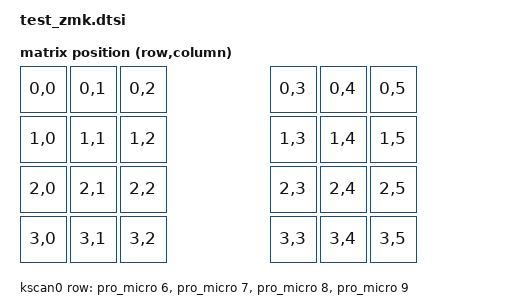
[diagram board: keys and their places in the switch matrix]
#include <dt-bindings/zmk/matrix_transform.h>

/ {
    chosen {
        zephyr,display = &oled;
        zmk,kscan = &kscan0;
        zmk,matrix-transform = &default_transform;
    };

    default_transform: keymap_transform_0 {
        compatible = "zmk,matrix-transform";
        columns = <6>;
        rows = <4>;
// | SW6  | SW5  | SW4  |               | SW1  | SW2  | SW3  |
// | SW12 | SW11 | SW10 |               | SW7  | SW8  | SW9  |
// | SW18 | SW17 | SW16 |               | SW13 | SW14 | SW15 |
// | SW24 | SW23 | SW22 |               | SW19 | SW20 | SW21 |
        map = <
RC(0,0) RC(0,1) RC(0,2)                 RC(0,3) RC(0,4) RC(0,5)
RC(1,0) RC(1,1) RC(1,2)                 RC(1,3) RC(1,4) RC(1,5)
RC(2,0) RC(2,1) RC(2,2)                 RC(2,3) RC(2,4) RC(2,5)
RC(3,0) RC(3,1) RC(3,2)                 RC(3,3) RC(3,4) RC(3,5)
        >;
    };

    kscan0: kscan {
        compatible = "zmk,kscan-gpio-matrix";
        label = "kscan";
        diode-direction = "col2row";
//        wakeup-source;

        row-gpios
            = <&pro_micro 6 (GPIO_ACTIVE_HIGH | GPIO_PULL_DOWN)>
            , <&pro_micro 7 (GPIO_ACTIVE_HIGH | GPIO_PULL_DOWN)>
            , <&pro_micro 8 (GPIO_ACTIVE_HIGH | GPIO_PULL_DOWN)>
            , <&pro_micro 9 (GPIO_ACTIVE_HIGH | GPIO_PULL_DOWN)>
            ;

    };

    left_encoder: encoder_left {
        compatible = "alps,ec11";
        a-gpios = <8 (GPIO_ACTIVE_HIGH | GPIO_PULL_UP)>;
        b-gpios = <9 (GPIO_ACTIVE_HIGH | GPIO_PULL_UP)>;
        steps = <80>;
        status = "disabled";
    };

    right_encoder: encoder_right {
        compatible = "alps,ec11";
        a-gpios = <8 (GPIO_ACTIVE_HIGH | GPIO_PULL_UP)>;
        b-gpios = <9 (GPIO_ACTIVE_HIGH | GPIO_PULL_UP)>;
        steps = <80>;
        status = "disabled";
    };

    sensors: sensors {
        compatible = "zmk,keymap-sensors";
        sensors = <&left_encoder &right_encoder>;
        triggers-per-rotation = <20>;
    };

};


&pro_micro_i2c {
    status = "okay";

    oled: ssd1306@3c {
        compatible = "solomon,ssd1306fb";
        reg = <0x3c>;
        width = <128>;
        height = <64>;
        segment-offset = <0>;
        page-offset = <0>;
        display-offset = <0>;
        multiplex-ratio = <63>;
        prechargep = <0x22>;
    };
};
